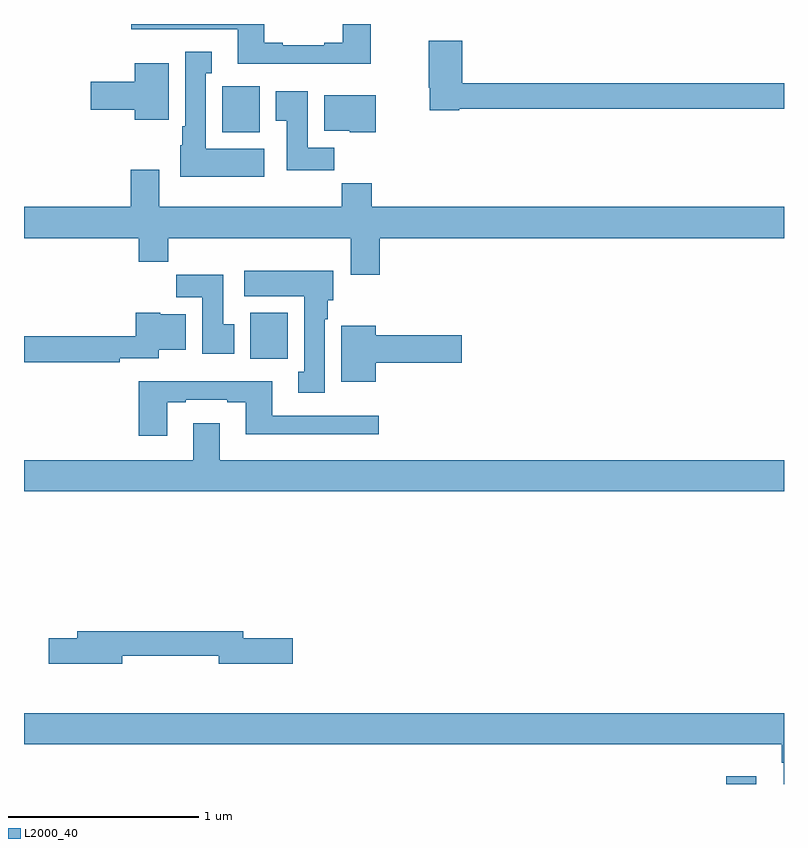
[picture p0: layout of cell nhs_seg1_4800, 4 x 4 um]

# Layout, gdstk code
import gdstk
lib = gdstk.Library(unit=1e-6, precision=1e-09)
def R(c, l, rs):  # rectangles x0, y0, x1, y1
    for r in rs: c.add(gdstk.rectangle(r[:2], r[2:], *l))
def P(c, l, *ps):  # polygons
    for p in ps: c.add(gdstk.Polygon(p, *l))
L2000_40 = (2000, 40)

nhs_seg1_4800 = lib.new_cell('nhs_seg1_4800')
R(nhs_seg1_4800, L2000_40, [(374.696,542.199,374.854,542.239), (372.191,544.436,372.388,544.678), (372.044,545.63,372.241,545.872)])
P(nhs_seg1_4800, L2000_40, [(372.825,546.199),(372.677,546.199),(372.677,546.1),(372.581,546.1),(372.581,546.087),(372.361,546.087),(372.361,546.1),(372.265,546.1),(372.265,546.199),(371.565,546.199),(371.565,546.171),(372.125,546.171),(372.125,545.99),(372.825,545.99)],
  [(373.29,545.752),(375,545.752),(375,545.888),(373.307,545.888),(373.307,546.112),(373.129,546.112),(373.129,545.863),(373.136,545.863),(373.136,545.744),(373.29,545.744)],
  [(372.265,545.542),(371.956,545.542),(371.956,545.939),(371.989,545.939),(371.989,546.052),(371.849,546.052),(371.849,545.662),(371.834,545.662),(371.834,545.562),(371.822,545.562),(371.822,545.396),(372.265,545.396)],
  [(371.761,545.992),(371.582,545.992),(371.582,545.894),(371.352,545.894),(371.352,545.747),(371.582,545.747),(371.582,545.696),(371.761,545.696)],
  [(372.632,545.548),(372.493,545.548),(372.493,545.845),(372.326,545.845),(372.326,545.689),(372.383,545.689),(372.383,545.43),(372.632,545.43)],
  [(372.85,545.824),(372.581,545.824),(372.581,545.636),(372.714,545.636),(372.714,545.63),(372.85,545.63)],
  [(372.872,545.072),(375,545.072),(375,545.236),(372.83,545.236),(372.83,545.36),(372.673,545.36),(372.673,545.236),(371.713,545.236),(371.713,545.431),(371.561,545.431),(371.561,545.236),(371,545.236),(371,545.072),(371.603,545.072),(371.603,544.948),(371.759,544.948),(371.759,545.072),(372.719,545.072),(372.719,544.878),(372.872,544.878)],
  [(372.583,544.646),(372.598,544.646),(372.598,544.746),(372.628,544.746),(372.628,544.9),(372.159,544.9),(372.159,544.766),(372.476,544.766),(372.476,544.37),(372.443,544.37),(372.443,544.257),(372.583,544.257)],
  [(372.106,544.62),(372.049,544.62),(372.049,544.879),(371.8,544.879),(371.8,544.76),(371.939,544.76),(371.939,544.464),(372.106,544.464)],
  [(371.504,544.44),(371.71,544.44),(371.71,544.484),(371.851,544.484),(371.851,544.672),(371.718,544.672),(371.718,544.678),(371.588,544.678),(371.588,544.556),(371,544.556),(371,544.42),(371.504,544.42)],
  [(372.85,544.415),(373.303,544.415),(373.303,544.562),(372.85,544.562),(372.85,544.612),(372.671,544.612),(372.671,544.316),(372.85,544.316)],
  [(371.755,544.209),(371.851,544.209),(371.851,544.221),(372.071,544.221),(372.071,544.209),(372.167,544.209),(372.167,544.04),(372.868,544.04),(372.868,544.137),(372.307,544.137),(372.307,544.318),(371.603,544.318),(371.603,544.032),(371.755,544.032)],
  [(375,543.904),(372.031,543.904),(372.031,544.099),(371.891,544.099),(371.891,543.904),(371,543.904),(371,543.74),(375,543.74)],
  [(371.518,542.874),(372.026,542.874),(372.026,542.831),(372.415,542.831),(372.415,542.966),(372.154,542.966),(372.154,543.002),(371.279,543.002),(371.279,542.966),(371.13,542.966),(371.13,542.831),(371.518,542.831)],
  [(375,542.572),(371,542.572),(371,542.408),(374.987,542.408),(374.987,542.312),(374.999,542.312),(374.999,542.199),(375,542.199)])

lib.write_gds('nhs_seg1_4800.gds')
